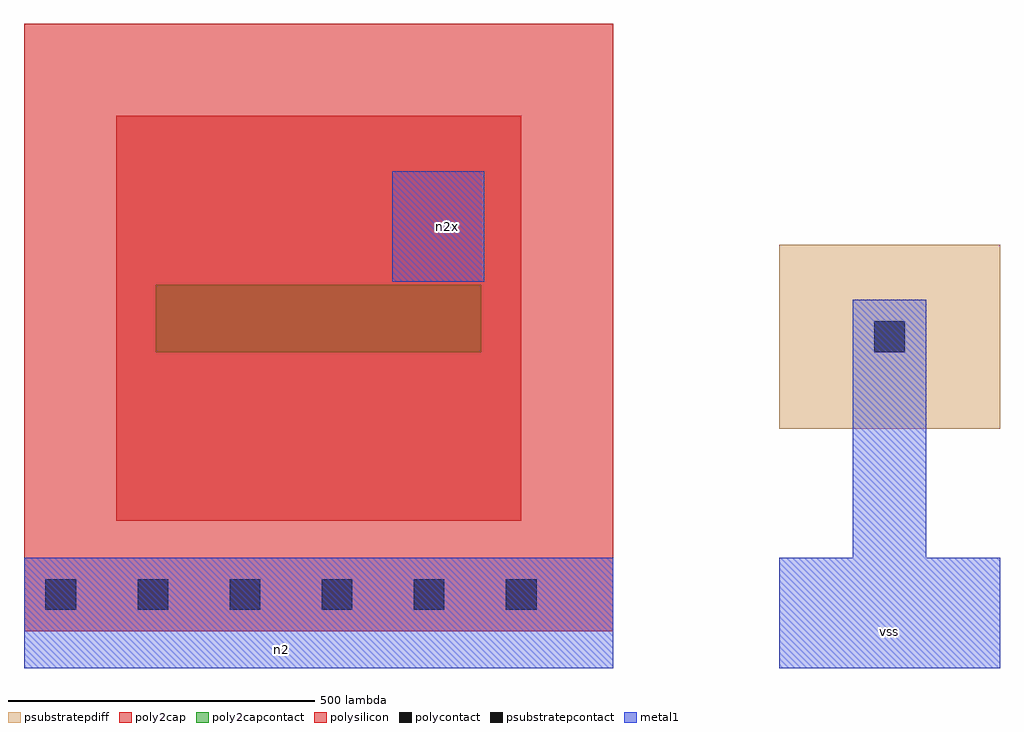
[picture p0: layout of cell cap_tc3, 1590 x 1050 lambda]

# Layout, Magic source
magic
tech amic5n
<< poly2capcontact >>
rect 875 515 1405 625
<< poly2cap >>
rect 810 240 1470 900
<< psubstratepdiff >>
rect 1890 390 2250 690
<< polysilicon >>
rect 660 60 1620 1050
<< psubstratepcontact >>
rect 2045 515 2095 565
<< polycontact >>
rect 695 95 745 145
<< polycontact >>
rect 845 95 895 145
<< polycontact >>
rect 995 95 1045 145
<< polycontact >>
rect 1145 95 1195 145
<< polycontact >>
rect 1295 95 1345 145
<< polycontact >>
rect 1445 95 1495 145
<< metal1 >>
rect 1260 630 1410 810
rect 2010 180 2130 600
rect 660 0 1620 180
rect 1890 0 2250 180
<< labels >>
flabel metal1 s 1350 720 1350 720 2 FreeSans 400 0 0 0 n2x
port 2 ne
flabel metal1  2070 60 2070 60 2 FreeSans 400 0 0 0 vss
port 4 ne
flabel metal1 s 1080 30 1080 30 2 FreeSans 400 0 0 0 n2
port 5 ne
<< end >>
